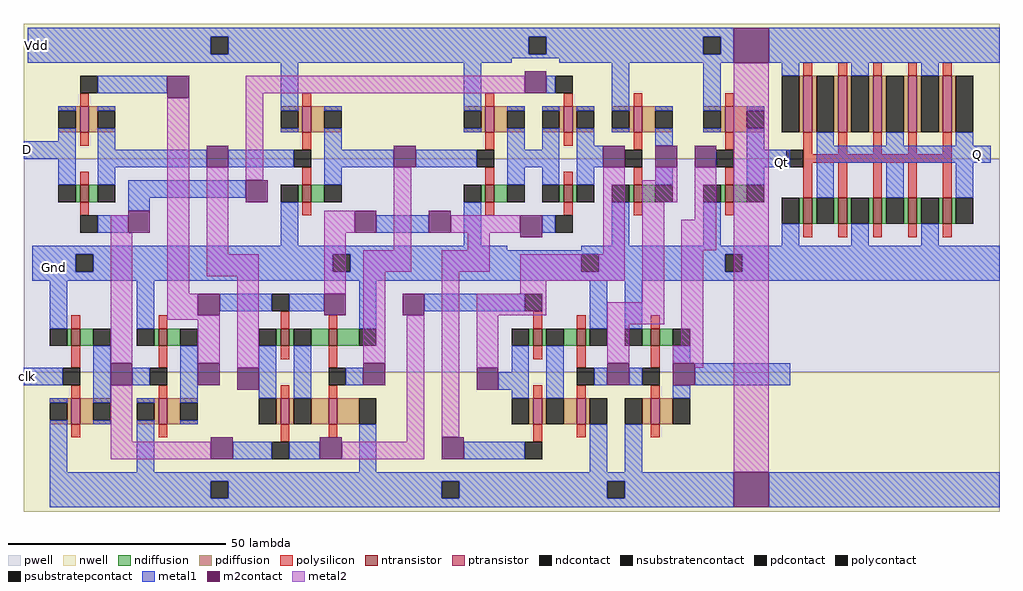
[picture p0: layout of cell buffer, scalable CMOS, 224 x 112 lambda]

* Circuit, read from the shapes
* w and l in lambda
.subckt buffer D Gnd Q Qt Vdd clk
M1 n1 clk Gnd Gnd nfet w=4 l=2
M2 n2 n1 D Gnd nfet w=4 l=2
M3 n3 n1 Gnd Gnd nfet w=4 l=2
M4 n4 n3 n2 Gnd nfet w=4 l=2
M5 n5 n2 Gnd Gnd nfet w=4 l=2
M6 Gnd n5 n4 Gnd nfet w=4 l=2
M7 n6 n5 Gnd Gnd nfet w=4 l=2
M8 n7 n1 n8 Gnd nfet w=4 l=2
M9 n8 n3 n6 Gnd nfet w=4 l=2
M10 Gnd n9 n7 Gnd nfet w=4 l=2
M11 n9 n8 Gnd Gnd nfet w=4 l=2
M12 FF_0/Q n9 Gnd Gnd nfet w=4 l=2
M13 Qt FF_0/Q Gnd Gnd nfet w=4 l=2
M14 Q Qt Gnd Gnd nfet w=6 l=2 m=5
M15 n1 clk Vdd Vdd pfet w=6 l=2
M16 n2 n3 D Vdd pfet w=6 l=2
M17 n3 n1 Vdd Vdd pfet w=6 l=2
M18 n4 n1 n2 Vdd pfet w=6 l=2
M19 n5 n2 Vdd Vdd pfet w=6 l=2
M20 Vdd n5 n4 Vdd pfet w=6 l=2
M21 n6 n5 Vdd Vdd pfet w=6 l=2
M22 n7 n3 n8 Vdd pfet w=6 l=2
M23 n8 n1 n6 Vdd pfet w=6 l=2
M24 Vdd n9 n7 Vdd pfet w=6 l=2
M25 n9 n8 Vdd Vdd pfet w=6 l=2
M26 FF_0/Q n9 Vdd Vdd pfet w=6 l=2
M27 Qt FF_0/Q Vdd Vdd pfet w=6 l=2
M28 Q Qt Vdd Vdd pfet w=13 l=2 m=5
.ends

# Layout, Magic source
magic
tech scmos
<< nwell >>
rect 174 87 224 112
rect 176 81 224 87
rect 176 0 224 32
<< pwell >>
rect 176 72 224 81
rect 174 60 224 72
rect 176 32 224 60
<< ntransistor >>
rect 179 66 181 72
rect 187 66 189 72
rect 195 66 197 72
rect 203 66 205 72
rect 211 66 213 72
<< ptransistor >>
rect 179 87 181 100
rect 187 87 189 100
rect 195 87 197 100
rect 203 87 205 100
rect 211 87 213 100
<< ndiffusion >>
rect 178 66 179 72
rect 181 66 182 72
rect 186 66 187 72
rect 189 66 190 72
rect 194 66 195 72
rect 197 66 198 72
rect 202 66 203 72
rect 205 66 206 72
rect 210 66 211 72
rect 213 66 214 72
<< pdiffusion >>
rect 178 87 179 100
rect 181 87 182 100
rect 186 87 187 100
rect 189 87 190 100
rect 194 87 195 100
rect 197 87 198 100
rect 202 87 203 100
rect 205 87 206 100
rect 210 87 211 100
rect 213 87 214 100
<< ndcontact >>
rect 174 66 178 72
rect 182 66 186 72
rect 190 66 194 72
rect 198 66 202 72
rect 206 66 210 72
rect 214 66 218 72
<< pdcontact >>
rect 174 87 178 100
rect 182 87 186 100
rect 190 87 194 100
rect 198 87 202 100
rect 206 87 210 100
rect 214 87 218 100
<< polysilicon >>
rect 179 100 181 103
rect 187 100 189 103
rect 195 100 197 103
rect 203 100 205 103
rect 211 100 213 103
rect 179 82 181 87
rect 187 82 189 87
rect 195 82 197 87
rect 203 82 205 87
rect 211 82 213 87
rect 179 80 213 82
rect 179 72 181 80
rect 187 72 189 80
rect 195 72 197 80
rect 203 72 205 80
rect 211 72 213 80
rect 179 63 181 66
rect 187 63 189 66
rect 195 63 197 66
rect 203 63 205 66
rect 211 63 213 66
<< polycontact >>
rect 175 79 179 83
<< metal1 >>
rect 1 103 6 111
rect 171 103 224 111
rect 174 100 178 103
rect 190 100 194 103
rect 206 100 210 103
rect 0 81 2 85
rect 182 84 186 87
rect 198 84 202 87
rect 214 84 218 87
rect 174 79 175 83
rect 182 80 222 84
rect 182 72 186 80
rect 198 72 202 80
rect 214 72 218 80
rect 174 61 178 66
rect 190 61 194 66
rect 206 61 210 66
rect 2 53 7 61
rect 174 60 224 61
rect 176 53 224 60
rect 0 29 2 33
rect 174 1 224 9
use FF  FF_0
transform 1 0 36 0 1 84
box -36 -84 140 28
<< labels >>
rlabel metal1 219 82 219 82 7 Q
rlabel metal1 1 83 1 83 3 D
rlabel metal1 3 107 3 107 4 Vdd
rlabel metal1 1 31 1 31 3 clk
rlabel metal1 174 80 174 80 1 Qt
rlabel metal1 7 56 7 56 1 Gnd
<< end >>

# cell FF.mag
magic
tech scmos
<< nwell >>
rect -36 -3 140 28
rect -36 -84 140 -52
<< pwell >>
rect -36 -52 140 -3
<< ntransistor >>
rect -23 -13 -21 -9
rect 28 -13 30 -9
rect 70 -13 72 -9
rect 88 -13 90 -9
rect 104 -13 106 -9
rect 125 -13 127 -9
rect -25 -46 -23 -42
rect -5 -46 -3 -42
rect 23 -46 25 -42
rect 34 -46 36 -42
rect 81 -46 83 -42
rect 91 -46 93 -42
rect 108 -46 110 -42
<< ptransistor >>
rect -23 3 -21 9
rect 28 3 30 9
rect 70 3 72 9
rect 88 3 90 9
rect 104 3 106 9
rect 125 3 127 9
rect -25 -64 -23 -58
rect -5 -64 -3 -58
rect 23 -64 25 -58
rect 34 -64 36 -58
rect 81 -64 83 -58
rect 91 -64 93 -58
rect 108 -64 110 -58
<< ndiffusion >>
rect -24 -13 -23 -9
rect -21 -13 -19 -9
rect 27 -13 28 -9
rect 30 -13 33 -9
rect 69 -13 70 -9
rect 72 -13 75 -9
rect 87 -13 88 -9
rect 90 -13 91 -9
rect 103 -13 104 -9
rect 106 -13 109 -9
rect 124 -13 125 -9
rect 127 -13 130 -9
rect -26 -46 -25 -42
rect -23 -46 -20 -42
rect -6 -46 -5 -42
rect -3 -46 0 -42
rect 22 -46 23 -42
rect 25 -46 26 -42
rect 30 -46 34 -42
rect 36 -46 41 -42
rect 80 -46 81 -42
rect 83 -46 84 -42
rect 88 -46 91 -42
rect 93 -46 94 -42
rect 106 -46 108 -42
rect 110 -46 113 -42
<< pdiffusion >>
rect -28 8 -23 9
rect -24 4 -23 8
rect -28 3 -23 4
rect -21 8 -15 9
rect -21 4 -19 8
rect -21 3 -15 4
rect 23 8 28 9
rect 27 4 28 8
rect 23 3 28 4
rect 30 8 37 9
rect 30 4 33 8
rect 30 3 37 4
rect 65 8 70 9
rect 69 4 70 8
rect 65 3 70 4
rect 72 8 79 9
rect 72 4 75 8
rect 72 3 79 4
rect 83 8 88 9
rect 87 4 88 8
rect 83 3 88 4
rect 90 8 95 9
rect 90 4 91 8
rect 90 3 95 4
rect 99 8 104 9
rect 103 4 104 8
rect 99 3 104 4
rect 106 8 113 9
rect 106 4 109 8
rect 106 3 113 4
rect 120 8 125 9
rect 124 4 125 8
rect 120 3 125 4
rect 127 8 134 9
rect 127 4 130 8
rect 127 3 134 4
rect -30 -59 -25 -58
rect -26 -63 -25 -59
rect -30 -64 -25 -63
rect -23 -59 -16 -58
rect -23 -63 -20 -59
rect -23 -64 -16 -63
rect -10 -59 -5 -58
rect -6 -63 -5 -59
rect -10 -64 -5 -63
rect -3 -59 4 -58
rect -3 -63 0 -59
rect -3 -64 4 -63
rect 22 -64 23 -58
rect 25 -64 26 -58
rect 30 -64 34 -58
rect 36 -64 41 -58
rect 80 -64 81 -58
rect 83 -64 84 -58
rect 88 -64 91 -58
rect 93 -64 94 -58
rect 106 -64 108 -58
rect 110 -64 113 -58
<< ndcontact >>
rect -28 -13 -24 -9
rect -19 -13 -15 -9
rect 23 -13 27 -9
rect 33 -13 37 -9
rect 65 -13 69 -9
rect 75 -13 79 -9
rect 83 -13 87 -9
rect 91 -13 95 -9
rect 99 -13 103 -9
rect 109 -13 113 -9
rect 120 -13 124 -9
rect 130 -13 134 -9
rect -30 -46 -26 -42
rect -20 -46 -16 -42
rect -10 -46 -6 -42
rect 0 -46 4 -42
rect 18 -46 22 -42
rect 26 -46 30 -42
rect 41 -46 45 -42
rect 76 -46 80 -42
rect 84 -46 88 -42
rect 94 -46 98 -42
rect 102 -46 106 -42
rect 113 -46 117 -42
<< pdcontact >>
rect -28 4 -24 8
rect -19 4 -15 8
rect 23 4 27 8
rect 33 4 37 8
rect 65 4 69 8
rect 75 4 79 8
rect 83 4 87 8
rect 91 4 95 8
rect 99 4 103 8
rect 109 4 113 8
rect 120 4 124 8
rect 130 4 134 8
rect -30 -63 -26 -59
rect -20 -63 -16 -59
rect -10 -63 -6 -59
rect 0 -63 4 -59
rect 18 -64 22 -58
rect 26 -64 30 -58
rect 41 -64 45 -58
rect 76 -64 80 -58
rect 84 -64 88 -58
rect 94 -64 98 -58
rect 102 -64 106 -58
rect 113 -64 117 -58
<< psubstratepcontact >>
rect -24 -29 -20 -25
rect 35 -29 39 -25
rect 92 -29 96 -25
rect 125 -29 129 -25
<< nsubstratencontact >>
rect 7 21 11 25
rect 80 21 84 25
rect 120 21 124 25
rect 7 -81 11 -77
rect 60 -81 64 -77
rect 98 -81 102 -77
<< polysilicon >>
rect -23 9 -21 12
rect 28 9 30 12
rect 70 9 72 12
rect 88 9 90 12
rect 104 9 106 12
rect 125 9 127 12
rect -23 0 -21 3
rect 28 -1 30 3
rect 70 -1 72 3
rect 88 0 90 3
rect 104 -1 106 3
rect 125 -1 127 3
rect -23 -9 -21 -6
rect 28 -9 30 -5
rect 70 -9 72 -5
rect 88 -9 90 -6
rect 104 -9 106 -5
rect 125 -9 127 -5
rect -23 -16 -21 -13
rect 28 -16 30 -13
rect 70 -16 72 -13
rect 88 -16 90 -13
rect 104 -16 106 -13
rect 125 -16 127 -13
rect -25 -42 -23 -39
rect -5 -42 -3 -39
rect 23 -42 25 -38
rect 34 -42 36 -39
rect 81 -42 83 -38
rect 91 -42 93 -39
rect 108 -42 110 -39
rect -25 -51 -23 -46
rect -5 -51 -3 -46
rect 23 -49 25 -46
rect 34 -51 36 -46
rect 81 -49 83 -46
rect 91 -51 93 -46
rect 108 -51 110 -46
rect -25 -58 -23 -55
rect -5 -58 -3 -55
rect 23 -58 25 -55
rect 34 -58 36 -55
rect 81 -58 83 -55
rect 91 -58 93 -55
rect 108 -58 110 -55
rect -25 -67 -23 -64
rect -5 -67 -3 -64
rect 23 -68 25 -64
rect 34 -67 36 -64
rect 81 -68 83 -64
rect 91 -67 93 -64
rect 108 -67 110 -64
<< polycontact >>
rect -23 12 -19 16
rect 86 12 90 16
rect 26 -5 30 -1
rect 68 -5 72 -1
rect 102 -5 106 -1
rect 123 -5 127 -1
rect -23 -20 -19 -16
rect 86 -20 90 -16
rect 21 -38 25 -34
rect 79 -38 83 -34
rect -27 -55 -23 -51
rect -7 -55 -3 -51
rect 34 -55 38 -51
rect 91 -55 95 -51
rect 106 -55 110 -51
rect 21 -72 25 -68
rect 79 -72 83 -68
<< metal1 >>
rect -30 25 127 27
rect -30 21 7 25
rect 11 21 80 25
rect 84 21 120 25
rect 124 21 127 25
rect -30 20 127 21
rect -30 19 76 20
rect 87 19 127 20
rect -19 12 -3 16
rect -28 8 -24 9
rect -28 1 -24 4
rect -36 -3 -24 1
rect -28 -9 -24 -3
rect -19 8 -15 9
rect -19 -1 -15 4
rect 23 8 27 19
rect 23 3 27 4
rect 33 8 37 9
rect -19 -5 6 -1
rect 33 -1 37 4
rect 65 8 69 19
rect 84 12 86 16
rect 65 3 69 4
rect 75 8 79 9
rect 11 -5 26 -1
rect 33 -5 49 -1
rect 75 -1 79 4
rect 83 8 87 9
rect 83 -1 87 4
rect 54 -5 68 -1
rect 75 -5 87 -1
rect -19 -9 -15 -5
rect -12 -12 15 -8
rect -12 -15 -7 -12
rect 33 -9 37 -5
rect 75 -9 79 -5
rect 83 -9 87 -5
rect 91 8 95 9
rect 91 0 95 4
rect 99 8 103 19
rect 99 3 103 4
rect 109 8 113 9
rect 109 0 113 4
rect 120 8 124 19
rect 120 3 124 4
rect 130 8 134 9
rect 91 -5 97 0
rect 130 -1 134 4
rect 130 -5 140 -1
rect 91 -9 95 -5
rect 109 -9 113 -5
rect 130 -9 134 -5
rect -19 -20 -12 -16
rect 23 -23 27 -13
rect 45 -20 57 -16
rect 65 -23 69 -13
rect 83 -20 86 -16
rect 99 -23 103 -13
rect 120 -23 124 -13
rect -30 -24 75 -23
rect 92 -24 140 -23
rect -30 -25 140 -24
rect -30 -29 -24 -25
rect -20 -29 35 -25
rect 39 -29 92 -25
rect 96 -29 125 -25
rect 129 -29 140 -25
rect -30 -31 140 -29
rect -30 -42 -26 -31
rect -10 -42 -6 -31
rect 9 -38 21 -34
rect 25 -38 33 -34
rect 41 -42 45 -31
rect 56 -38 79 -34
rect 94 -42 98 -31
rect -36 -55 -27 -51
rect -30 -59 -26 -58
rect -30 -75 -26 -63
rect -20 -59 -16 -46
rect -11 -55 -7 -51
rect -20 -64 -16 -63
rect -10 -59 -6 -58
rect -10 -75 -6 -63
rect 0 -59 4 -46
rect 0 -64 4 -63
rect 18 -58 22 -46
rect 26 -58 30 -46
rect 38 -55 42 -51
rect 76 -52 80 -46
rect 73 -56 80 -52
rect 76 -58 80 -56
rect 102 -42 106 -31
rect 84 -58 88 -46
rect 113 -50 117 -46
rect 95 -55 98 -51
rect 103 -55 106 -51
rect 118 -55 140 -50
rect 113 -58 117 -55
rect 12 -72 21 -68
rect 25 -72 32 -68
rect 41 -75 45 -64
rect 65 -72 79 -68
rect 94 -75 98 -64
rect 102 -75 106 -64
rect -30 -77 127 -75
rect -30 -81 7 -77
rect 11 -81 60 -77
rect 64 -81 98 -77
rect 102 -81 127 -77
rect -30 -83 127 -81
rect 135 -83 138 -75
<< m2contact >>
rect 127 19 135 27
rect -3 11 2 16
rect 6 -5 11 0
rect 79 12 84 17
rect 49 -5 54 0
rect 15 -13 20 -8
rect 97 -5 102 0
rect 109 -5 114 0
rect 118 -5 123 0
rect -12 -20 -7 -15
rect 40 -20 45 -15
rect 57 -20 62 -15
rect 78 -21 83 -16
rect 4 -39 9 -34
rect 33 -39 38 -34
rect 51 -39 56 -34
rect -16 -55 -11 -50
rect 4 -55 9 -50
rect 13 -56 18 -51
rect 42 -55 47 -50
rect 68 -56 73 -51
rect 98 -55 103 -50
rect 113 -55 118 -50
rect 7 -72 12 -67
rect 32 -72 37 -67
rect 60 -72 65 -67
rect 127 -83 135 -75
<< metal2 >>
rect -16 -20 -12 -16
rect -16 -50 -11 -20
rect -3 -34 2 11
rect 15 12 79 16
rect 6 -25 11 -5
rect 15 -8 19 12
rect 33 -20 40 -15
rect 6 -30 18 -25
rect -3 -39 4 -34
rect -3 -40 9 -39
rect 4 -50 9 -40
rect 13 -51 18 -30
rect 33 -34 38 -20
rect 49 -24 53 -5
rect 62 -20 78 -16
rect 66 -24 71 -20
rect 42 -29 53 -24
rect 60 -29 71 -24
rect 97 -25 102 -5
rect 109 -8 114 -5
rect -16 -68 -11 -55
rect 42 -50 47 -29
rect -16 -72 7 -68
rect 52 -68 56 -39
rect 37 -72 56 -68
rect 60 -67 64 -29
rect 78 -31 102 -25
rect 106 -13 114 -8
rect 78 -34 84 -31
rect 68 -39 84 -34
rect 106 -36 111 -13
rect 118 -17 123 -5
rect 68 -51 73 -39
rect 98 -41 111 -36
rect 115 -24 123 -17
rect 98 -50 103 -41
rect 115 -46 120 -24
rect 113 -50 120 -46
rect 118 -51 120 -50
rect 127 -75 135 19
<< labels >>
rlabel metal1 -28 23 -28 23 5 Vdd
rlabel metal1 -28 -27 -28 -27 1 Gnd
rlabel metal1 -28 -1 -28 -1 1 D
rlabel metal1 -28 -53 -28 -53 1 clk
rlabel metal1 137 -3 137 -3 7 Q_bar
rlabel metal1 138 -53 138 -53 7 Q
<< end >>
